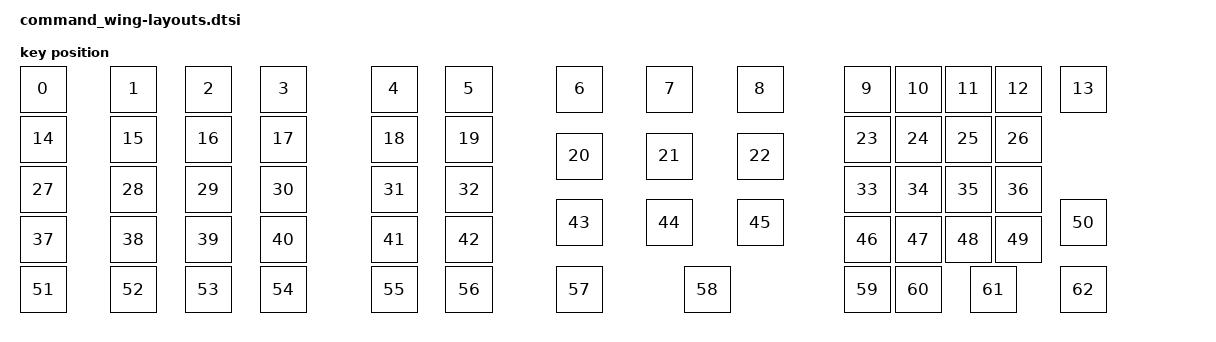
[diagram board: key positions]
#include <physical_layouts.dtsi>

/ {
    layout: layout {
        compatible = "zmk,physical-layout";
        display-name = "LAYOUT";

        keys  //                     w   h    x    y     rot    rx    ry
            = <&key_physical_attrs 100 100    0    0       0     0     0>
            , <&key_physical_attrs 100 100  181    0       0     0     0>
            , <&key_physical_attrs 100 100  331    0       0     0     0>
            , <&key_physical_attrs 100 100  481    0       0     0     0>
            , <&key_physical_attrs 100 100  702    0       0     0     0>
            , <&key_physical_attrs 100 100  852    0       0     0     0>
            , <&key_physical_attrs 100 100 1073    0       0     0     0>
            , <&key_physical_attrs 100 100 1253    0       0     0     0>
            , <&key_physical_attrs 100 100 1434    0       0     0     0>
            , <&key_physical_attrs 100 100 1649    0       0     0     0>
            , <&key_physical_attrs 100 100 1750    0       0     0     0>
            , <&key_physical_attrs 100 100 1850    0       0     0     0>
            , <&key_physical_attrs 100 100 1950    0       0     0     0>
            , <&key_physical_attrs 100 100 2081    0       0     0     0>
            , <&key_physical_attrs 100 100    0  100       0     0     0>
            , <&key_physical_attrs 100 100  181  100       0     0     0>
            , <&key_physical_attrs 100 100  331  100       0     0     0>
            , <&key_physical_attrs 100 100  481  100       0     0     0>
            , <&key_physical_attrs 100 100  702  100       0     0     0>
            , <&key_physical_attrs 100 100  852  100       0     0     0>
            , <&key_physical_attrs 100 100 1073  134       0     0     0>
            , <&key_physical_attrs 100 100 1253  134       0     0     0>
            , <&key_physical_attrs 100 100 1434  134       0     0     0>
            , <&key_physical_attrs 100 100 1649  100       0     0     0>
            , <&key_physical_attrs 100 100 1750  100       0     0     0>
            , <&key_physical_attrs 100 100 1850  100       0     0     0>
            , <&key_physical_attrs 100 100 1950  100       0     0     0>
            , <&key_physical_attrs 100 100    0  201       0     0     0>
            , <&key_physical_attrs 100 100  181  201       0     0     0>
            , <&key_physical_attrs 100 100  331  201       0     0     0>
            , <&key_physical_attrs 100 100  481  201       0     0     0>
            , <&key_physical_attrs 100 100  702  201       0     0     0>
            , <&key_physical_attrs 100 100  852  201       0     0     0>
            , <&key_physical_attrs 100 100 1649  201       0     0     0>
            , <&key_physical_attrs 100 100 1750  201       0     0     0>
            , <&key_physical_attrs 100 100 1850  201       0     0     0>
            , <&key_physical_attrs 100 100 1950  201       0     0     0>
            , <&key_physical_attrs 100 100    0  301       0     0     0>
            , <&key_physical_attrs 100 100  181  301       0     0     0>
            , <&key_physical_attrs 100 100  331  301       0     0     0>
            , <&key_physical_attrs 100 100  481  301       0     0     0>
            , <&key_physical_attrs 100 100  702  301       0     0     0>
            , <&key_physical_attrs 100 100  852  301       0     0     0>
            , <&key_physical_attrs 100 100 1073  267       0     0     0>
            , <&key_physical_attrs 100 100 1253  267       0     0     0>
            , <&key_physical_attrs 100 100 1434  267       0     0     0>
            , <&key_physical_attrs 100 100 1649  301       0     0     0>
            , <&key_physical_attrs 100 100 1750  301       0     0     0>
            , <&key_physical_attrs 100 100 1850  301       0     0     0>
            , <&key_physical_attrs 100 100 1950  301       0     0     0>
            , <&key_physical_attrs 100 100 2081  267       0     0     0>
            , <&key_physical_attrs 100 100    0  401       0     0     0>
            , <&key_physical_attrs 100 100  181  401       0     0     0>
            , <&key_physical_attrs 100 100  331  401       0     0     0>
            , <&key_physical_attrs 100 100  481  401       0     0     0>
            , <&key_physical_attrs 100 100  702  401       0     0     0>
            , <&key_physical_attrs 100 100  852  401       0     0     0>
            , <&key_physical_attrs 100 100 1073  401       0     0     0>
            , <&key_physical_attrs 100 100 1329  401       0     0     0>
            , <&key_physical_attrs 100 100 1649  401       0     0     0>
            , <&key_physical_attrs 100 100 1750  401       0     0     0>
            , <&key_physical_attrs 100 100 1900  401       0     0     0>
            , <&key_physical_attrs 100 100 2081  401       0     0     0>
            ;
    };

    position_map {
        compatible = "zmk,physical-layout-position-map";

        layout {
            physical-layout = <&layout>;
            positions = < 0    1  2  3    4  5    6  7  8    9 10 11 12   13>,
                        <14   15 16 17   18 19   20 21 22   23 24 25 26     >,
                        <27   28 29 30   31 32              33 34 35 36     >,
                        <37   38 39 40   41 42   43 44 45   46 47 48 49   50>,
                        <51   52 53 54   55 56   57    58   59 60    61   62>;
        };
    };
};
